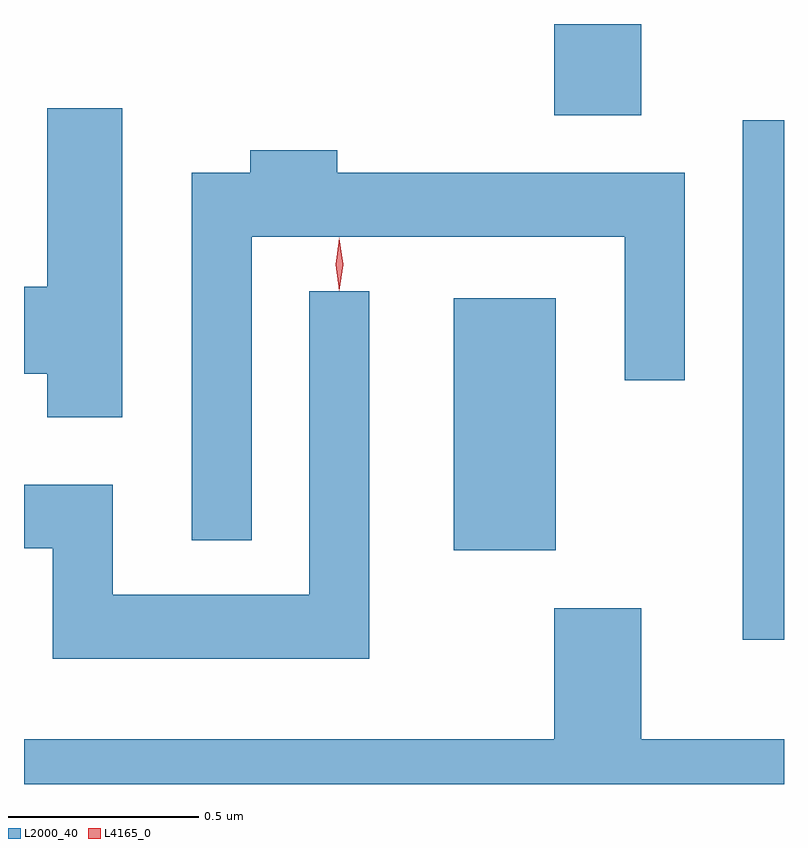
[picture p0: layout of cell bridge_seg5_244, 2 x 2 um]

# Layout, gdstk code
import gdstk
lib = gdstk.Library(unit=1e-6, precision=1e-09)
def R(c, l, rs):  # rectangles x0, y0, x1, y1
    for r in rs: c.add(gdstk.rectangle(r[:2], r[2:], *l))
def P(c, l, *ps):  # polygons
    for p in ps: c.add(gdstk.Polygon(p, *l))
L2000_40 = (2000, 40)
L4165_0 = (4165, 0)

bridge_seg5_244 = lib.new_cell('bridge_seg5_244')
R(bridge_seg5_244, L2000_40, [(1329.346,1426.246,1329.455,1427.613), (1328.586,1426.481,1328.854,1427.144), (1328.851,1427.626,1329.079,1427.866)])
P(bridge_seg5_244, L2000_40, [(1327.714,1427.644),(1327.516,1427.644),(1327.516,1427.174),(1327.455,1427.174),(1327.455,1426.946),(1327.516,1426.946),(1327.516,1426.831),(1327.714,1426.831)],
  [(1328.054,1427.306),(1329.036,1427.306),(1329.036,1426.928),(1329.194,1426.928),(1329.194,1427.474),(1328.279,1427.474),(1328.279,1427.534),(1328.051,1427.534),(1328.051,1427.474),(1327.896,1427.474),(1327.896,1426.508),(1328.054,1426.508)],
  [(1328.364,1427.163),(1328.206,1427.163),(1328.206,1426.364),(1327.689,1426.364),(1327.689,1426.654),(1327.455,1426.654),(1327.455,1426.486),(1327.531,1426.486),(1327.531,1426.196),(1328.364,1426.196)],
  [(1329.455,1425.984),(1329.079,1425.984),(1329.079,1426.329),(1328.851,1426.329),(1328.851,1425.984),(1327.455,1425.984),(1327.455,1425.866),(1329.455,1425.866)])
P(bridge_seg5_244, L4165_0, [(1328.284,1427.167),(1328.275,1427.234),(1328.284,1427.3),(1328.285,1427.301),(1328.285,1427.3),(1328.295,1427.234),(1328.285,1427.167),(1328.285,1427.167)],
  [(1328.284,1427.164),(1328.275,1427.233),(1328.284,1427.302),(1328.285,1427.303),(1328.285,1427.302),(1328.295,1427.233),(1328.285,1427.164),(1328.285,1427.164)])

lib.write_gds('bridge_seg5_244.gds')
